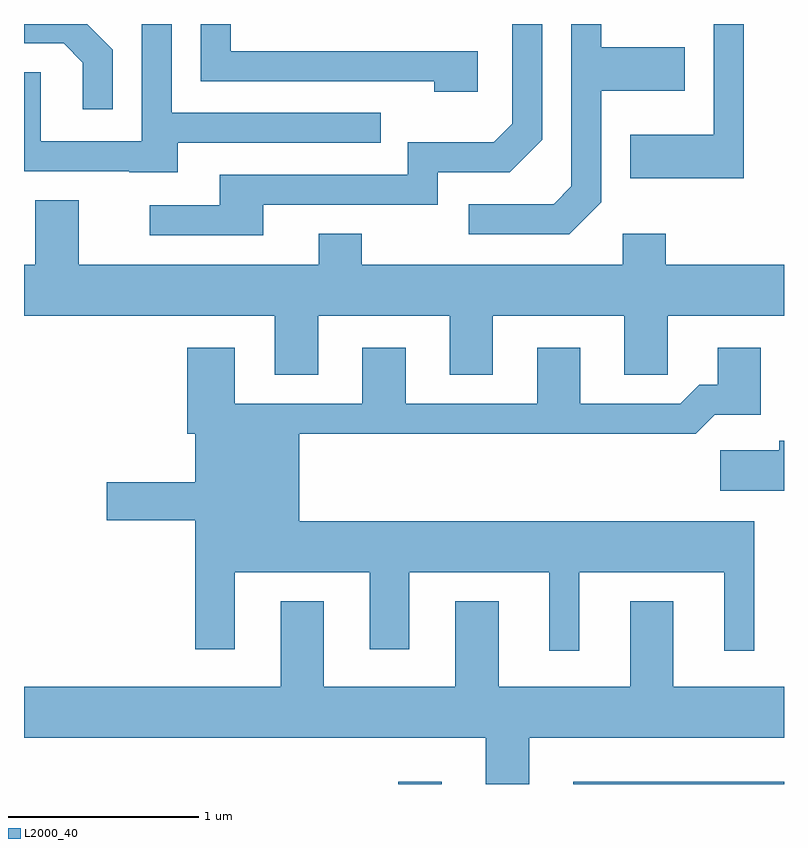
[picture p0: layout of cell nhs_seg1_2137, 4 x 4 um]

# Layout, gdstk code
import gdstk
lib = gdstk.Library(unit=1e-6, precision=1e-09)
def R(c, l, rs):  # rectangles x0, y0, x1, y1
    for r in rs: c.add(gdstk.rectangle(r[:2], r[2:], *l))
def P(c, l, *ps):  # polygons
    for p in ps: c.add(gdstk.Polygon(p, *l))
L2000_40 = (2000, 40)

nhs_seg1_2137 = lib.new_cell('nhs_seg1_2137')
R(nhs_seg1_2137, L2000_40, [(251.581,963.712,251.809,963.724), (252.501,963.712,253.611,963.724)])
P(nhs_seg1_2137, L2000_40, [(253.399,967.712),(253.241,967.712),(253.241,967.129),(252.801,967.129),(252.801,966.901),(253.399,966.901)],
  [(252.649,966.774),(252.649,967.361),(253.089,967.361),(253.089,967.589),(252.649,967.589),(252.649,967.712),(252.491,967.712),(252.491,966.857),(252.399,966.764),(251.953,966.764),(251.953,966.606),(252.482,966.606)],
  [(250.419,967.086),(251.488,967.086),(251.488,967.244),(250.389,967.244),(250.389,967.712),(250.231,967.712),(250.231,967.094),(249.699,967.094),(249.699,967.459),(249.611,967.459),(249.611,966.936),(250.165,966.936),(250.165,966.931),(250.419,966.931)],
  [(250.869,966.761),(251.789,966.761),(251.789,966.931),(252.167,966.931),(252.339,967.104),(252.339,967.712),(252.181,967.712),(252.181,967.187),(252.084,967.089),(251.631,967.089),(251.631,966.919),(250.641,966.919),(250.641,966.759),(250.273,966.759),(250.273,966.601),(250.869,966.601)],
  [(251.999,967.569),(250.699,967.569),(250.699,967.712),(250.541,967.712),(250.541,967.411),(251.771,967.411),(251.771,967.356),(251.999,967.356)],
  [(250.079,967.577),(249.944,967.712),(249.611,967.712),(249.611,967.611),(249.819,967.611),(249.921,967.509),(249.921,967.263),(250.079,967.263)],
  [(251.159,966.176),(251.851,966.176),(251.851,965.866),(252.079,965.866),(252.079,966.176),(252.771,966.176),(252.771,965.866),(252.999,965.866),(252.999,966.176),(253.611,966.176),(253.611,966.444),(252.989,966.444),(252.989,966.609),(252.761,966.609),(252.761,966.444),(251.389,966.444),(251.389,966.609),(251.161,966.609),(251.161,966.444),(249.899,966.444),(249.899,966.784),(249.671,966.784),(249.671,966.444),(249.611,966.444),(249.611,966.176),(250.931,966.176),(250.931,965.866),(251.159,965.866)],
  [(252.534,964.826),(253.296,964.826),(253.296,964.413),(253.454,964.413),(253.454,965.094),(251.059,965.094),(251.059,965.556),(253.147,965.556),(253.247,965.656),(253.489,965.656),(253.489,966.009),(253.261,966.009),(253.261,965.814),(253.164,965.814),(253.064,965.714),(252.539,965.714),(252.539,966.009),(252.311,966.009),(252.311,965.714),(251.619,965.714),(251.619,966.009),(251.391,966.009),(251.391,965.714),(250.719,965.714),(250.719,966.009),(250.471,966.009),(250.471,965.556),(250.511,965.556),(250.511,965.299),(250.046,965.299),(250.046,965.101),(250.511,965.101),(250.511,964.421),(250.719,964.421),(250.719,964.826),(251.431,964.826),(251.431,964.421),(251.639,964.421),(251.639,964.826),(252.376,964.826),(252.376,964.413),(252.534,964.413)],
  [(253.611,965.519),(253.586,965.519),(253.586,965.469),(253.276,965.469),(253.276,965.256),(253.611,965.256)],
  [(252.269,963.956),(253.611,963.956),(253.611,964.224),(253.029,964.224),(253.029,964.674),(252.801,964.674),(252.801,964.224),(252.109,964.224),(252.109,964.674),(251.881,964.674),(251.881,964.224),(251.189,964.224),(251.189,964.674),(250.961,964.674),(250.961,964.224),(249.611,964.224),(249.611,963.956),(252.041,963.956),(252.041,963.712),(252.269,963.712)])

lib.write_gds('nhs_seg1_2137.gds')
